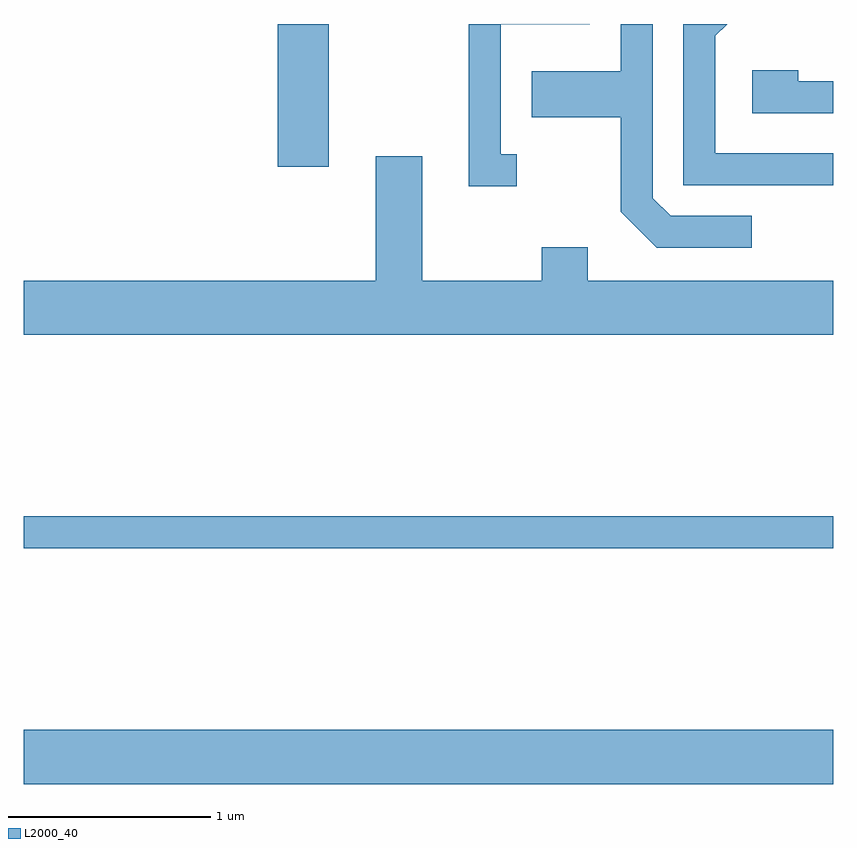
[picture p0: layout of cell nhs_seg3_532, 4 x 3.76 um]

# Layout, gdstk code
import gdstk
lib = gdstk.Library(unit=1e-6, precision=1e-09)
def R(c, l, rs):  # rectangles x0, y0, x1, y1
    for r in rs: c.add(gdstk.rectangle(r[:2], r[2:], *l))
def P(c, l, *ps):  # polygons
    for p in ps: c.add(gdstk.Polygon(p, *l))
L2000_40 = (2000, 40)

nhs_seg3_532 = lib.new_cell('nhs_seg3_532')
R(nhs_seg3_532, L2000_40, [(199.611,1228.136,203.611,1228.404), (199.611,1229.301,203.611,1229.459), (200.866,1231.186,201.119,1231.892)])
P(nhs_seg3_532, L2000_40, [(203.611,1231.254),(203.029,1231.254),(203.029,1231.834),(203.088,1231.892),(202.871,1231.892),(202.871,1231.096),(203.611,1231.096)],
  [(203.208,1230.944),(202.807,1230.944),(202.719,1231.032),(202.719,1231.892),(202.561,1231.892),(202.561,1231.659),(202.121,1231.659),(202.121,1231.431),(202.561,1231.431),(202.561,1230.964),(202.739,1230.786),(203.208,1230.786)],
  [(202.048,1231.249),(201.969,1231.249),(201.969,1231.891),(202.409,1231.891),(202.409,1231.892),(201.811,1231.892),(201.811,1231.091),(202.048,1231.091)],
  [(203.611,1231.609),(203.439,1231.609),(203.439,1231.664),(203.211,1231.664),(203.211,1231.451),(203.611,1231.451)],
  [(203.611,1230.624),(202.399,1230.624),(202.399,1230.789),(202.171,1230.789),(202.171,1230.624),(201.579,1230.624),(201.579,1231.239),(201.351,1231.239),(201.351,1230.624),(199.611,1230.624),(199.611,1230.356),(203.611,1230.356)])

lib.write_gds('nhs_seg3_532.gds')
